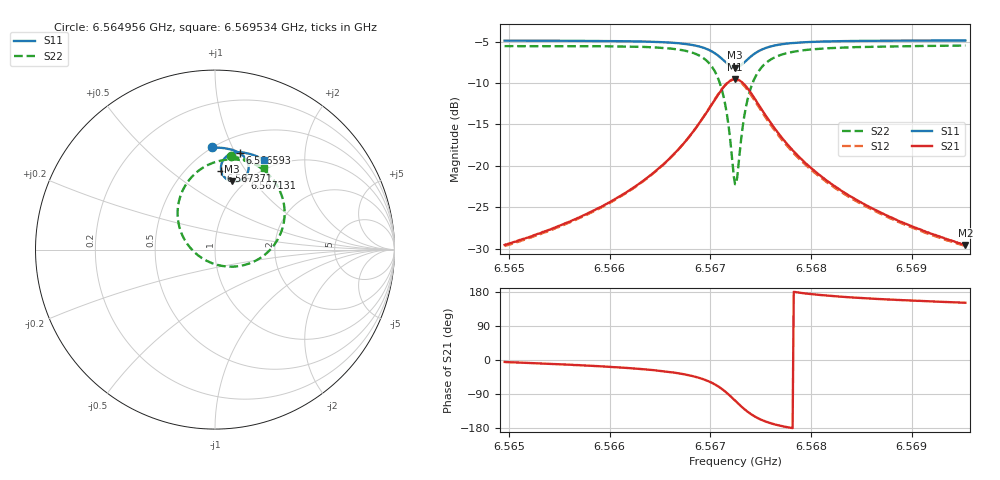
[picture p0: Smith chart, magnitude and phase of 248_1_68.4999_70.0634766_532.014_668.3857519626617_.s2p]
#  HZ  S  RI  R  50.00
! Rohde & Schwarz Vector Network Analyzer
! Rohde-Schwarz,ZNB20-2Port,1311601062101988,3.16
! Created: UTC 3/20/2024, 5:14:50 PM
! freq[Hz]  re:S11  im:S11  re:S21  im:S21  re:S12  im:S12  re:S22  im:S22
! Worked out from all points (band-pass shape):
!   401 points, 6.564956 GHz to 6.569534 GHz, reference 50 ohm
!   highest |S21| = -9.55 dB at 6.567245 GHz (marker M1); lowest = -29.6 dB at 6.569534 GHz (marker M2)
!   |S21| within 3 dB of the highest: 6.567018 GHz to 6.567475 GHz (457.6 kHz wide, 0.00697 % of centre)
!   lowest |S11| = -8.1 dB at 6.567245 GHz (marker M3), VSWR 2.29, Z = 43.7 + j39.3 ohm
!   |S11| at or under -10 dB: nowhere
!   |S22| runs from -22.2 to -5.5 dB; largest |S21 - S12| = 0.017
!   S11 on the Smith chart (normalised r, x): 6.564956 GHz: 0.50, +0.84; 6.566593 GHz: 0.67, +1.04; 6.567131 GHz: 0.95, +0.93; 6.567371 GHz: 0.72, +0.78; 6.569534 GHz: 0.87, +1.29
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6.5649562e9  -0.016 0.5689  0.0331 -0.00302  0.0325 -0.00368  0.0877 0.5199
6.565723e9  0.0493 0.5655  0.048 -0.0121  0.0474 -0.0126  0.1677 0.4998
6.5661351e9  0.0883 0.5578  0.0631 -0.0235  0.0622 -0.0241  0.2233 0.475
6.5664899e9  0.1269 0.5435  0.0851 -0.0458  0.084 -0.0469  0.2876 0.4289
6.5665929e9  0.1396 0.5363  0.094 -0.0576  0.0927 -0.0591  0.3109 0.4051
6.5667989e9  0.1673 0.5119  0.1149 -0.0995  0.113 -0.1016  0.363 0.3236
6.5669591e9  0.1857 0.4735  0.1233 -0.1675  0.1199 -0.1712  0.3877 0.1928
6.5670621e9  0.1837 0.4325  0.1013 -0.2391  0.0945 -0.244  0.3493 0.0563
6.5671308e9  0.1649 0.401  0.054 -0.2925  0.0425 -0.2962  0.2593 -0.0422
6.5671766e9  0.1407 0.3845  0.00155 -0.3187  -0.013 -0.3193  0.161 -0.0866
6.5672224e9  0.1091 0.3782  -0.0632 -0.3254  -0.0791 -0.3208  0.0423 -0.0915
6.5672453e9  0.0926 0.3802  -0.0967 -0.3188  -0.112 -0.3114  -0.0169 -0.0755
6.5672681e9  0.0768 0.3858  -0.1283 -0.306  -0.1423 -0.2958  -0.0714 -0.0482
6.5673254e9  0.0467 0.4116  -0.1886 -0.2525  -0.1971 -0.2383  -0.1695 0.0556
6.5673712e9  0.0351 0.4379  -0.213 -0.201  -0.2166 -0.1864  -0.2036 0.1493
6.5674627e9  0.0382 0.4835  -0.2145 -0.1132  -0.2123 -0.1021  -0.1915 0.3022
6.5676001e9  0.0661 0.5209  -0.1767 -0.0411  -0.1726 -0.0349  -0.1109 0.4233
6.5677603e9  0.0986 0.5373  -0.1356 -0.00688  -0.1322 -0.00377  -0.0267 0.4774
6.5680121e9  0.1377 0.5421  -0.095 0.0105  -0.0925 0.0121  0.0618 0.5005
6.568344e9  0.1762 0.5375  -0.0662 0.0163  -0.0646 0.017  0.1342 0.5001
6.5687789e9  0.2166 0.5259  -0.0462 0.0172  -0.0451 0.0176  0.1967 0.4871
6.5695343e9  0.2755 0.4996  -0.0291 0.016  -0.0284 0.0162  0.2716 0.4564
